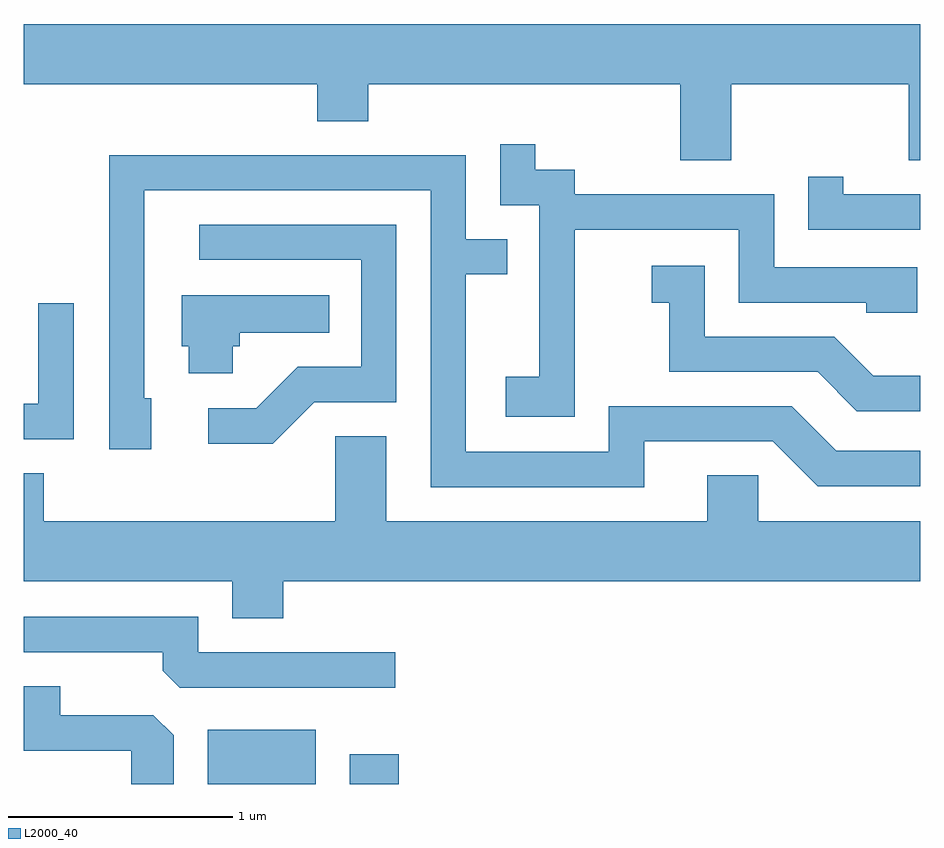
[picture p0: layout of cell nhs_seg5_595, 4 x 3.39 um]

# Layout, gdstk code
import gdstk
lib = gdstk.Library(unit=1e-6, precision=1e-09)
def R(c, l, rs):  # rectangles x0, y0, x1, y1
    for r in rs: c.add(gdstk.rectangle(r[:2], r[2:], *l))
def P(c, l, *ps):  # polygons
    for p in ps: c.add(gdstk.Polygon(p, *l))
L2000_40 = (2000, 40)

nhs_seg5_595 = lib.new_cell('nhs_seg5_595')
R(nhs_seg5_595, L2000_40, [(202.431,1498.072,202.914,1498.314), (203.066,1498.072,203.284,1498.204)])
P(nhs_seg5_595, L2000_40, [(204.769,1501.196),(205.561,1501.196),(205.561,1500.856),(205.611,1500.856),(205.611,1501.464),(201.611,1501.464),(201.611,1501.196),(202.921,1501.196),(202.921,1501.031),(203.149,1501.031),(203.149,1501.196),(204.541,1501.196),(204.541,1500.856),(204.769,1500.856)],
  [(204.069,1500.546),(204.801,1500.546),(204.801,1500.221),(205.371,1500.221),(205.371,1500.176),(205.599,1500.176),(205.599,1500.379),(204.959,1500.379),(204.959,1500.704),(204.069,1500.704),(204.069,1500.814),(203.894,1500.814),(203.894,1500.928),(203.736,1500.928),(203.736,1500.656),(203.911,1500.656),(203.911,1499.889),(203.761,1499.889),(203.761,1499.711),(204.069,1499.711)],
  [(204.379,1499.601),(204.954,1499.601),(205.154,1499.401),(205.611,1499.401),(205.611,1499.559),(205.237,1499.559),(205.037,1499.759),(204.221,1499.759),(204.221,1499.554),(203.584,1499.554),(203.584,1500.346),(203.768,1500.346),(203.768,1500.504),(203.584,1500.504),(203.584,1500.879),(201.991,1500.879),(201.991,1499.566),(202.179,1499.566),(202.179,1499.794),(202.149,1499.794),(202.149,1500.721),(203.426,1500.721),(203.426,1499.396),(204.379,1499.396)],
  [(205.611,1500.704),(205.269,1500.704),(205.269,1500.783),(205.111,1500.783),(205.111,1500.546),(205.611,1500.546)],
  [(202.907,1499.776),(203.274,1499.776),(203.274,1500.569),(202.393,1500.569),(202.393,1500.411),(203.116,1500.411),(203.116,1499.934),(202.834,1499.934),(202.649,1499.749),(202.433,1499.749),(202.433,1499.591),(202.722,1499.591)],
  [(205.611,1499.894),(205.402,1499.894),(205.227,1500.069),(204.649,1500.069),(204.649,1500.384),(204.413,1500.384),(204.413,1500.221),(204.491,1500.221),(204.491,1499.911),(205.154,1499.911),(205.329,1499.736),(205.611,1499.736)],
  [(202.544,1500.026),(202.574,1500.026),(202.574,1500.086),(202.973,1500.086),(202.973,1500.254),(202.316,1500.254),(202.316,1500.026),(202.346,1500.026),(202.346,1499.906),(202.544,1499.906)],
  [(201.834,1500.218),(201.676,1500.218),(201.676,1499.769),(201.611,1499.769),(201.611,1499.611),(201.834,1499.611)],
  [(202.769,1498.976),(205.611,1498.976),(205.611,1499.244),(204.889,1499.244),(204.889,1499.449),(204.661,1499.449),(204.661,1499.244),(203.229,1499.244),(203.229,1499.624),(203.001,1499.624),(203.001,1499.244),(201.699,1499.244),(201.699,1499.459),(201.611,1499.459),(201.611,1498.976),(202.541,1498.976),(202.541,1498.811),(202.769,1498.811)],
  [(203.268,1498.659),(202.389,1498.659),(202.389,1498.819),(201.611,1498.819),(201.611,1498.661),(202.231,1498.661),(202.231,1498.577),(202.307,1498.501),(203.268,1498.501)],
  [(202.279,1498.289),(202.189,1498.379),(201.774,1498.379),(201.774,1498.509),(201.611,1498.509),(201.611,1498.221),(202.091,1498.221),(202.091,1498.072),(202.279,1498.072)])

lib.write_gds('nhs_seg5_595.gds')
